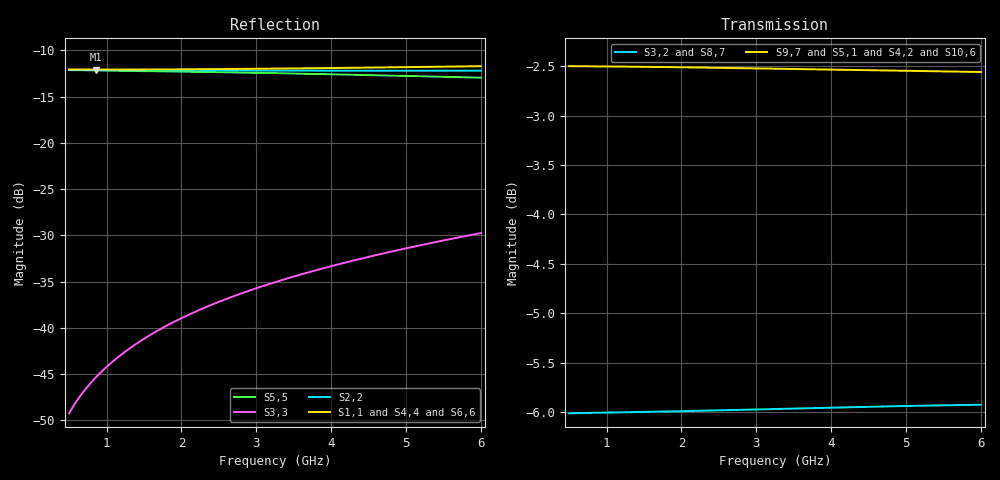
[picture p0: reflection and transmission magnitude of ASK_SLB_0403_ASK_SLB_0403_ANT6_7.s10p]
! Touchstone file exported from HFSS 3D Layout Design 2025.1.0
!  File:  C:/Users/pricewu/Documents/Ansoft/ASK_SLB_0403.aedt
!  Generated:  06:32:06 AM Apr  7, 2026
!  Design:  ASK_SLB_0403_ANT6_7
!  Project:  ASK_SLB_0403
!  Setup:  Setup1
!  Solution:  Sweep1
# GHz S MA R 50.000000
! Terminal data exported
! Port[1] = ANT6_UHB0_C10960
! Port[2] = ANT6_UHB0_C10961
! Port[3] = ANT6_UHB0_L10960
! Port[4] = ANT6_UHB0_PAout
! Port[5] = ANT6_UHB0_SLB_CONN
! Port[6] = ANT7_C10970
! Port[7] = ANT7_C10971
! Port[8] = ANT7_L10970
! Port[9] = ANT7_UHB0_PAout
! Port[10] = ANT7_UHB0_SLB_CONN
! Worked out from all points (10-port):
!   551 points, 500 MHz to 6 GHz, reference 50 ohm
!   strongest paths, dB at 500 MHz, 1.87 GHz, 3.25 GHz, 4.63 GHz, 6 GHz:
!     S9,7: -2.5, -2.5, -2.5, -2.5, -2.6
!     S5,1: -2.5, -2.5, -2.5, -2.5, -2.5
!     S4,2: -2.5, -2.6, -2.6, -2.6, -2.7
!     S10,6: -2.5, -2.6, -2.6, -2.7, -2.7
!     S3,2: -6.0, -6.0, -6.0, -5.9, -5.9
!     S8,7: -6.0, -6.0, -6.0, -6.0, -6.0
!   lowest |S11| = -12.1 dB at 860 MHz (marker M1), VSWR 1.66, Z = 30.1 - j0.0291 ohm
!   |S11| at or under -10 dB: start of sweep to end of sweep
